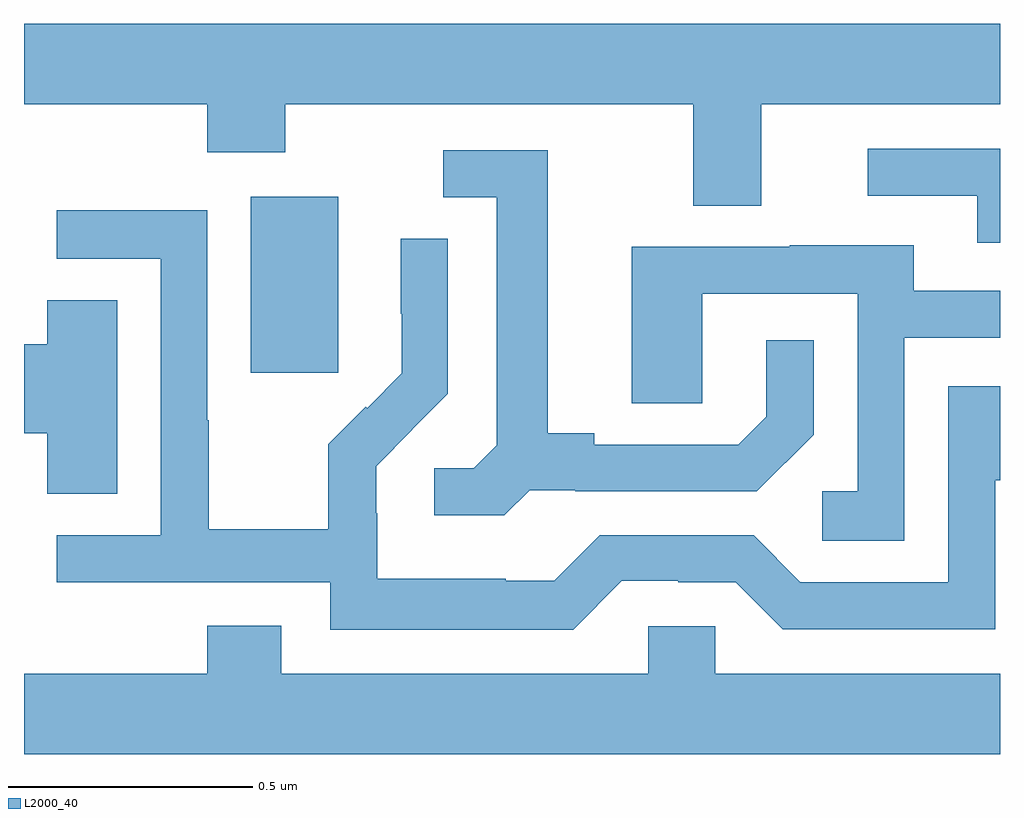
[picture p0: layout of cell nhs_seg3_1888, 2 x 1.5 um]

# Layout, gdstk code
import gdstk
lib = gdstk.Library(unit=1e-6, precision=1e-09)
def R(c, l, rs):  # rectangles x0, y0, x1, y1
    for r in rs: c.add(gdstk.rectangle(r[:2], r[2:], *l))
def P(c, l, *ps):  # polygons
    for p in ps: c.add(gdstk.Polygon(p, *l))
L2000_40 = (2000, 40)

nhs_seg3_1888 = lib.new_cell('nhs_seg3_1888')
R(nhs_seg3_1888, L2000_40, [(134.465,704.361,134.644,704.722)])
P(nhs_seg3_1888, L2000_40, [(135.511,704.912),(136,704.912),(136,705.076),(134,705.076),(134,704.912),(134.375,704.912),(134.375,704.813),(134.535,704.813),(134.535,704.912),(135.371,704.912),(135.371,704.704),(135.511,704.704)],
  [(136,704.82),(135.729,704.82),(135.729,704.724),(135.953,704.724),(135.953,704.628),(136,704.628)],
  [(135.036,704.121),(135.13,704.121),(135.13,704.118),(135.502,704.118),(135.618,704.234),(135.618,704.428),(135.521,704.428),(135.521,704.271),(135.464,704.214),(135.169,704.214),(135.169,704.237),(135.073,704.237),(135.073,704.817),(134.859,704.817),(134.859,704.721),(134.969,704.721),(134.969,704.213),(134.922,704.166),(134.841,704.166),(134.841,704.069),(134.984,704.069)],
  [(135.225,703.935),(135.341,703.935),(135.341,703.932),(135.459,703.932),(135.555,703.836),(135.99,703.836),(135.99,704.141),(136,704.141),(136,704.334),(135.894,704.334),(135.894,703.932),(135.591,703.932),(135.495,704.028),(135.18,704.028),(135.087,703.935),(134.987,703.935),(134.987,703.939),(134.724,703.939),(134.724,704.073),(134.722,704.073),(134.722,704.17),(134.796,704.244),(134.795,704.245),(134.868,704.318),(134.868,704.636),(134.772,704.636),(134.772,704.482),(134.774,704.482),(134.774,704.36),(134.703,704.289),(134.7,704.292),(134.623,704.215),(134.623,704.041),(134.379,704.041),(134.379,704.264),(134.376,704.264),(134.376,704.694),(134.067,704.694),(134.067,704.595),(134.28,704.595),(134.28,704.028),(134.067,704.028),(134.067,703.932),(134.628,703.932),(134.628,703.835),(135.125,703.835)],
  [(135.804,704.433),(136,704.433),(136,704.529),(135.823,704.529),(135.823,704.623),(135.569,704.623),(135.569,704.619),(135.245,704.619),(135.245,704.299),(135.39,704.299),(135.39,704.523),(135.708,704.523),(135.708,704.118),(135.636,704.118),(135.636,704.017),(135.804,704.017)],
  [(134.191,704.51),(134.048,704.51),(134.048,704.42),(134,704.42),(134,704.237),(134.048,704.237),(134.048,704.113),(134.191,704.113)],
  [(136,703.744),(135.417,703.744),(135.417,703.842),(135.279,703.842),(135.279,703.744),(134.527,703.744),(134.527,703.843),(134.375,703.843),(134.375,703.744),(134,703.744),(134,703.58),(136,703.58)])

lib.write_gds('nhs_seg3_1888.gds')
